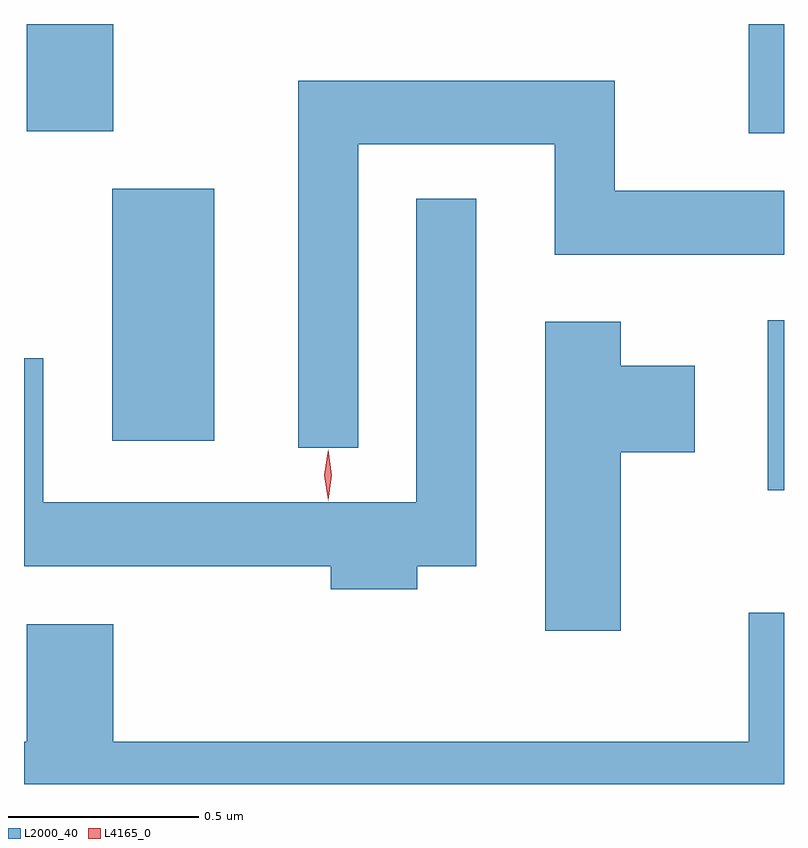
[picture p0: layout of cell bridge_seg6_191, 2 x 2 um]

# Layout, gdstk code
import gdstk
lib = gdstk.Library(unit=1e-6, precision=1e-09)
def R(c, l, rs):  # rectangles x0, y0, x1, y1
    for r in rs: c.add(gdstk.rectangle(r[:2], r[2:], *l))
def P(c, l, *ps):  # polygons
    for p in ps: c.add(gdstk.Polygon(p, *l))
L2000_40 = (2000, 40)
L4165_0 = (4165, 0)

bridge_seg6_191 = lib.new_cell('bridge_seg6_191')
R(bridge_seg6_191, L2000_40, [(1083.901,1575.386,1083.944,1575.834), (1082.176,1575.516,1082.444,1576.179), (1083.851,1576.326,1083.944,1576.613), (1081.951,1576.331,1082.179,1576.613)])
P(bridge_seg6_191, L2000_40, [(1082.824,1576.296),(1083.341,1576.296),(1083.341,1576.006),(1083.944,1576.006),(1083.944,1576.174),(1083.499,1576.174),(1083.499,1576.464),(1082.666,1576.464),(1082.666,1575.498),(1082.824,1575.498)],
  [(1082.979,1575.186),(1083.134,1575.186),(1083.134,1576.153),(1082.976,1576.153),(1082.976,1575.354),(1081.994,1575.354),(1081.994,1575.733),(1081.944,1575.733),(1081.944,1575.186),(1082.751,1575.186),(1082.751,1575.126),(1082.979,1575.126)],
  [(1083.514,1575.486),(1083.709,1575.486),(1083.709,1575.714),(1083.514,1575.714),(1083.514,1575.829),(1083.316,1575.829),(1083.316,1575.016),(1083.514,1575.016)],
  [(1083.944,1575.064),(1083.851,1575.064),(1083.851,1574.724),(1082.179,1574.724),(1082.179,1575.034),(1081.951,1575.034),(1081.951,1574.724),(1081.944,1574.724),(1081.944,1574.613),(1083.944,1574.613)])
P(bridge_seg6_191, L4165_0, [(1082.744,1575.359),(1082.744,1575.36),(1082.734,1575.426),(1082.744,1575.492),(1082.744,1575.493),(1082.745,1575.492),(1082.754,1575.426),(1082.745,1575.36)])

lib.write_gds('bridge_seg6_191.gds')
